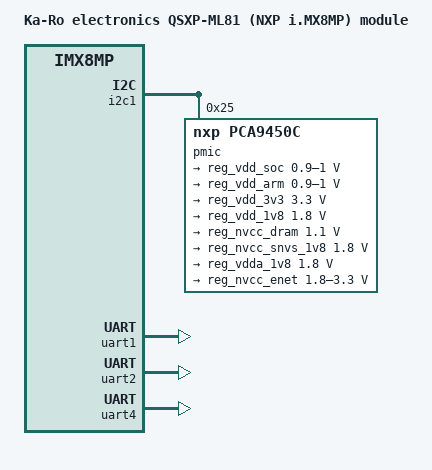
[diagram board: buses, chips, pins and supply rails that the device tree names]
// SPDX-License-Identifier: (GPL-2.0 OR MIT)
/*
 * Copyright (C) 2020 Lothar Waßmann <LW@KARO-electronics.de>
 *
 */

/dts-v1/;

#include "imx8mp-karo.dtsi"

/ {
	model = "Ka-Ro electronics QSXP-ML81 (NXP i.MX8MP) module";
	compatible = "karo,imx8mp-qsxp", "fsl,imx8mp";

	aliases {
		serial0 = &uart2;
		serial1 = &uart4;
		serial2 = &uart1;
	};
};

&A53_0 {
	cpu-supply = <&reg_vdd_arm>;
};

&i2c1 {
	pmic: pmic@25 {
		compatible = "nxp,pca9450c", "nxp,pca9450b";
		reg = <0x25>;
		status = "okay";

		regulators {
			reg_vdd_soc: BUCK1 {
				regulator-name = "BUCK1";
				regulator-min-microvolt = <900000>;
				regulator-max-microvolt = <1000000>;
				nxp,dvs-run-voltage = <900000>;
				regulator-ramp-delay = <3125>;
				regulator-boot-on;
				regulator-always-on;
			};

			reg_vdd_arm: BUCK2 {
				regulator-name = "BUCK2";
				regulator-min-microvolt = <900000>;
				regulator-max-microvolt = <1000000>;
				nxp,dvs-run-voltage = <900000>;
				regulator-ramp-delay = <3125>;
				regulator-boot-on;
				regulator-always-on;
			};

			reg_vdd_3v3: BUCK4 {
				regulator-name = "BUCK4";
				regulator-min-microvolt = <3300000>;
				regulator-max-microvolt = <3300000>;
				regulator-boot-on;
				regulator-always-on;
			};

			reg_vdd_1v8: BUCK5 {
				regulator-name = "BUCK5";
				regulator-min-microvolt = <1800000>;
				regulator-max-microvolt = <1800000>;
				regulator-boot-on;
				regulator-always-on;
			};

			reg_nvcc_dram: BUCK6 {
				regulator-name = "BUCK6";
				regulator-min-microvolt = <1100000>;
				regulator-max-microvolt = <1100000>;
				regulator-boot-on;
				regulator-always-on;
			};

			reg_nvcc_snvs_1v8: LDO1 {
				regulator-name = "LDO1";
				regulator-min-microvolt = <1800000>;
				regulator-max-microvolt = <1800000>;
				regulator-boot-on;
				regulator-always-on;
			};

			reg_vdda_1v8: LDO3 {
				regulator-name = "LDO3";
				regulator-min-microvolt = <1800000>;
				regulator-max-microvolt = <1800000>;
				regulator-boot-on;
				regulator-always-on;
			};

			reg_nvcc_enet: LDO5 {
				regulator-name = "LDO5";
				regulator-min-microvolt = <1800000>;
				regulator-max-microvolt = <3300000>;
			};
		};
	};
};

&reg_3v3_etn {
	regulator-always-on;
	vin-supply = <&reg_nvcc_enet>;
};

&uart1 {
	pinctrl-names = "default";
	pinctrl-0 = <&pinctrl_uart1 &pinctrl_uart1_rtscts>;
	uart-has-rtscts;
	status = "okay";
};

&uart2 { /* console */
	pinctrl-names = "default";
	pinctrl-0 = <&pinctrl_uart2>;
	status = "okay";
};

&uart4 {
	pinctrl-names = "default";
	pinctrl-0 = <&pinctrl_uart4>;
	status = "okay";
};

&iomuxc {
	pinctrl_uart1: uart1grp {
		fsl,pins = <
			MX8MP_IOMUXC_UART1_RXD__UART1_DCE_RX		0x140
			MX8MP_IOMUXC_UART1_TXD__UART1_DCE_TX		0x140
		>;
	};

	pinctrl_uart1_rtscts: uart1-rtsctsgrp {
		fsl,pins = <
			MX8MP_IOMUXC_UART3_TXD__UART1_DCE_RTS		0x140
			MX8MP_IOMUXC_UART3_RXD__UART1_DCE_CTS		0x140
		>;
	};

	pinctrl_uart2: uart2grp {
		fsl,pins = <
			MX8MP_IOMUXC_UART2_RXD__UART2_DCE_RX		0x140
			MX8MP_IOMUXC_UART2_TXD__UART2_DCE_TX		0x140
		>;
	};

	pinctrl_uart4: uart4grp {
		fsl,pins = <
			MX8MP_IOMUXC_UART4_RXD__UART4_DCE_RX		0x140
			MX8MP_IOMUXC_UART4_TXD__UART4_DCE_TX		0x140
		>;
	};
};
